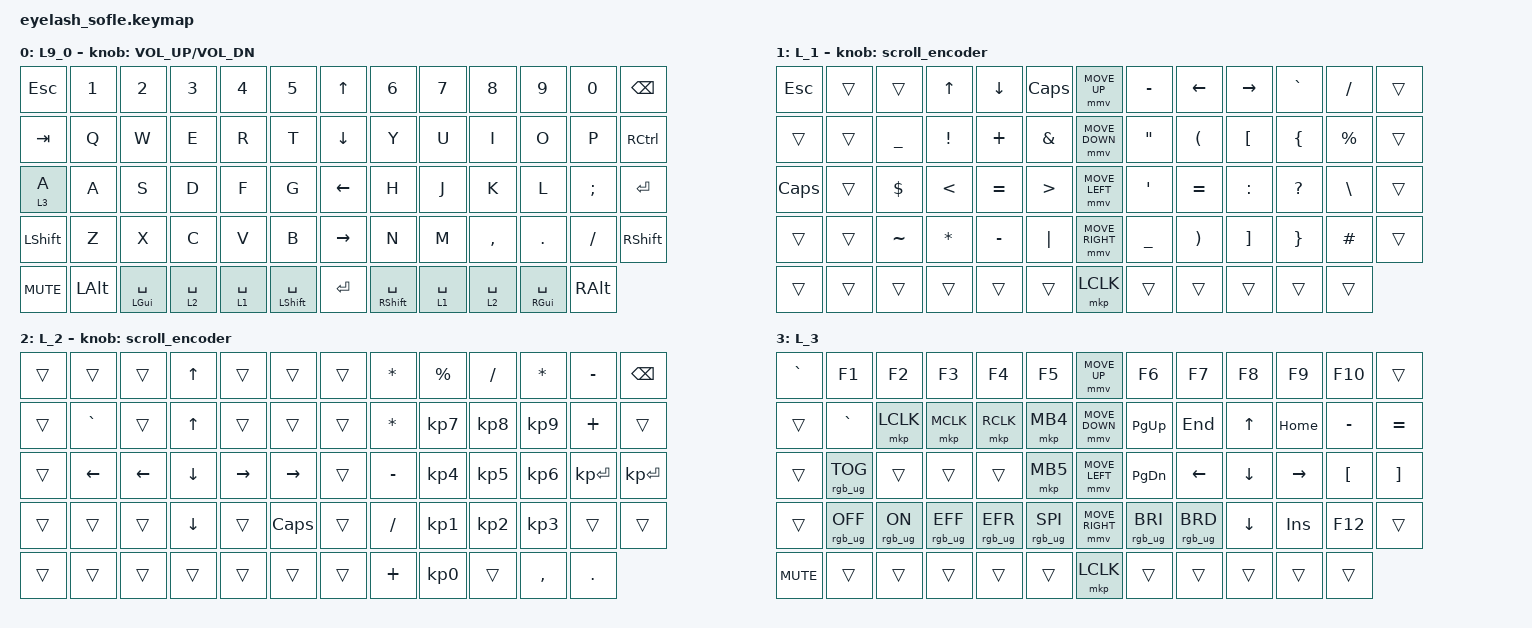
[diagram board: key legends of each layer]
#define ZMK_POINTING_DEFAULT_MOVE_VAL 1200  // 600
#define ZMK_POINTING_DEFAULT_SCRL_VAL 35    // 10
#include <input/processors.dtsi>
#include <behaviors.dtsi>
#include <dt-bindings/zmk/bt.h>
#include <dt-bindings/zmk/keys.h>
#include <dt-bindings/zmk/outputs.h>
#include <dt-bindings/zmk/pointing.h>
#include <dt-bindings/zmk/ext_power.h>
#include <dt-bindings/zmk/rgb.h>
#include <zephyr/dt-bindings/input/input-event-codes.h>
#include <dt-bindings/zmk/behaviors.h>

/ {
    behaviors {
        my_lt50: layer_tap {
            compatible = "zmk,behavior-hold-tap";
            #binding-cells = <2>;
            flavor = "tap-preferred";
            tapping-term-ms = <50>;
            bindings = <&mo>, <&kp>;
            display-name = "Layer-Tap";
        };
        my_lt12: layer_tap {
            compatible = "zmk,behavior-hold-tap";
            #binding-cells = <2>;
            flavor = "tap-preferred";
            tapping-term-ms = <3>;
            bindings = <&mo>, <&kp>;
            display-name = "Layer-Tap";
        };
        my_lt300: layer_tap {
            compatible = "zmk,behavior-hold-tap";
            #binding-cells = <2>;
            flavor = "tap-preferred";
            tapping-term-ms = <300>;
            bindings = <&mo>, <&kp>;
            display-name = "Layer-Tap";
        };
    };
};

/ {
  zip_scroll_scaler: zip_scroll_scaler {
    compatible = "zmk,input-processor-scaler";
    #input-processor-cells = <2>;
    type = <INPUT_EV_REL>;
    codes = <INPUT_REL_WHEEL INPUT_REL_HWHEEL>;
    track-remainders;
  };
};

&mmv_input_listener {
       input-processors = <&zip_xy_scaler 2 1>;
};

&msc_input_listener {
       input-processors = <&zip_scroll_scaler 2 1>;
};

&msc {
    acceleration-exponent = <0>;      // 0
    time-to-max-speed-ms = <0>;       // 300
    delay-ms = <0>;                   // 0
};

&mmv {
    time-to-max-speed-ms = <400>;
    acceleration-exponent = <1>;
};


/ {
    scroll_encoder: scroll_encoder {
        compatible = "zmk,behavior-sensor-rotate";
        #sensor-binding-cells = <0>;
        bindings = <&msc SCRL_DOWN>, <&msc SCRL_UP>;

        tap-ms = <30>;
    };

    keymap {
        compatible = "zmk,keymap";

        layer_0 {
            bindings = <
&kp ESC          &kp N1        &kp N2              &kp N3            &kp N4            &kp N5            &kp UP_ARROW     &kp N6            &kp N7            &kp N8            &kp N9               &kp N0         &kp BACKSPACE
&kp TAB          &kp Q         &kp W               &kp E             &kp R             &kp T             &kp DOWN_ARROW   &kp Y             &kp U             &kp I             &kp O                &kp P          &kp RCTRL
&my_lt12 3 A     &kp A         &kp S               &kp D             &kp F             &kp G             &kp LEFT_ARROW   &kp H             &kp J             &kp K             &kp L                &kp SEMI       &kp ENTER
&kp LSHFT        &kp Z         &kp X               &kp C             &kp V             &kp B             &kp RIGHT_ARROW  &kp N             &kp M             &kp COMMA         &kp DOT              &kp FSLH       &kp RIGHT_SHIFT
&kp C_MUTE       &kp LEFT_ALT  &mt LEFT_GUI SPACE  &my_lt12 2 SPACE  &my_lt12 1 SPACE  &mt LSHFT SPACE   &kp ENTER        &mt RSHFT SPACE   &my_lt12 1 SPACE  &my_lt12 2 SPACE  &mt RIGHT_GUI SPACE  &kp RIGHT_ALT
            >;

            sensor-bindings = <&inc_dec_kp C_VOLUME_UP C_VOL_DN>;
            display-name = "L9_0";
        };

        layer_1 {
            bindings = <
&kp ESC       &trans        &trans          &kp UP    &kp DOWN   &kp CAPSLOCK  &mmv MOVE_UP     &kp MINUS  &kp LEFT   &kp RIGHT  &kp GRAVE  &kp FSLH   &trans
&trans        &trans        &kp UNDER       &kp EXCL  &kp PLUS   &kp AMPS      &mmv MOVE_DOWN   &kp DQT    &kp LPAR   &kp LBKT   &kp LBRC   &kp PRCNT  &trans
&kp CAPSLOCK  &trans        &kp DOLLAR      &kp LT    &kp EQUAL  &kp GT        &mmv MOVE_LEFT   &kp SQT    &kp EQUAL  &kp COLON  &kp QMARK  &kp BSLH   &trans
&trans        &trans        &kp TILDE       &kp STAR  &kp MINUS  &kp PIPE      &mmv MOVE_RIGHT  &kp UNDER  &kp RPAR   &kp RBKT   &kp RBRC   &kp HASH   &trans
&trans        &trans        &trans          &trans    &trans     &trans        &mkp LCLK        &trans        &trans     &trans     &trans     &trans
            >;

            display-name = "L_1";
            sensor-bindings = <&scroll_encoder>;
        };

        layer_2 {
            bindings = <
&trans  &trans     &trans    &kp UP    &trans     &trans        &trans     &kp STAR   &kp PRCNT  &kp FSLH   &kp STAR      &kp MINUS     &kp BACKSPACE
&trans  &kp GRAVE  &trans    &kp UP    &trans     &trans        &trans     &kp STAR   &kp KP_N7  &kp KP_N8  &kp KP_N9     &kp PLUS      &trans
&trans  &kp LEFT   &kp LEFT  &kp DOWN  &kp RIGHT  &kp RIGHT     &trans     &kp MINUS  &kp KP_N4  &kp KP_N5  &kp KP_N6     &kp KP_ENTER  &kp KP_ENTER
&trans  &trans     &trans    &kp DOWN  &trans     &kp CAPSLOCK  &trans     &kp FSLH   &kp KP_N1  &kp KP_N2  &kp KP_N3     &trans        &trans
&trans  &trans     &trans    &trans    &trans     &trans        &trans     &kp PLUS   &kp KP_N0  &trans     &kp COMMA     &kp DOT
            >;
            display-name = "L_2";
            sensor-bindings = <&scroll_encoder>;
        };

        layer_3 {
            bindings = <
&kp GRAVE   &kp F1           &kp F2          &kp F3           &kp F4           &kp F5             &mmv MOVE_UP     &kp F6           &kp F7           &kp F8      &kp F9      &kp F10           &trans
&trans      &kp GRAVE        &mkp LCLK       &mkp MCLK        &mkp RCLK        &mkp MB4           &mmv MOVE_DOWN   &kp PG_UP        &kp END          &kp UP      &kp HOME    &kp MINUS         &kp EQUAL
&trans      &rgb_ug RGB_TOG  &trans          &trans           &trans           &mkp MB5           &mmv MOVE_LEFT   &kp PG_DN        &kp LEFT         &kp DOWN    &kp RIGHT   &kp LEFT_BRACKET  &kp RIGHT_BRACKET
&trans      &rgb_ug RGB_OFF  &rgb_ug RGB_ON  &rgb_ug RGB_EFF  &rgb_ug RGB_EFR  &rgb_ug RGB_SPI    &mmv MOVE_RIGHT  &rgb_ug RGB_BRI  &rgb_ug RGB_BRD  &kp DOWN    &kp INSERT  &kp F12           &trans
&kp C_MUTE  &trans           &trans          &trans           &trans           &trans             &mkp LCLK        &trans           &trans           &trans      &trans      &trans
              >;
              display-name = "L_3";
          };
      };
  };
